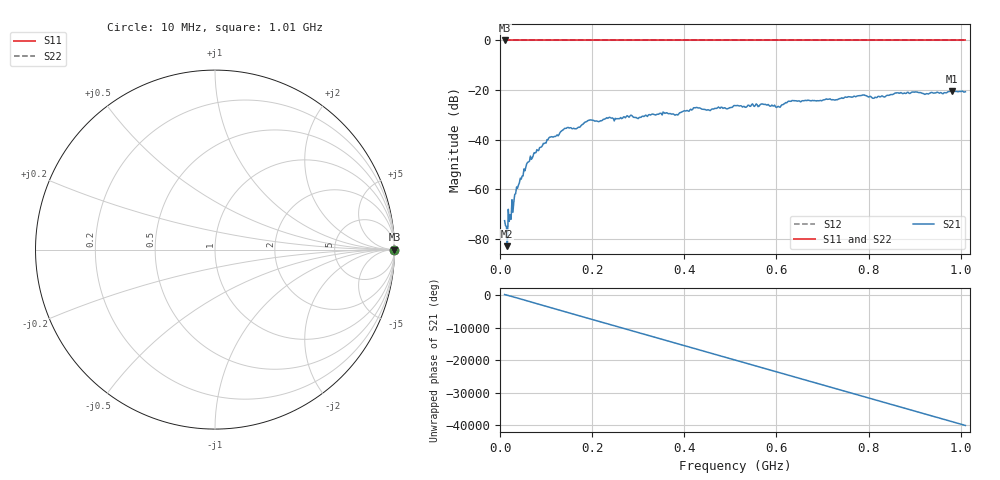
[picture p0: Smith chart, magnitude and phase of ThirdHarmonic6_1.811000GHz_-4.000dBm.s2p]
! 8/16/2025 9:56:01 PM
! C:\ANRITSUVNA\TEMP\TEMP.S2P
! CHANNEL.1
! TR.MEASUREMENT
! RAW.DATA
! RF.CORRECTION.OFF
! AVERAGING.OFF
! IF.BANDWIDTH: 5KHZ
! SWEEPTYPE:  FREQ.SWEEP(Linear)
! Reference Plane Port Info
! PORT:  PORT1  PORT2
! DISTANCE:  0  m  0  m
! TIME:  0  s  0  s
! PHASE.OFFSET:  0  deg.  0  deg.
! LOSS:  0  dB  0  dB
! REF.LOSS:  0  dB  0  dB
! REF.FREQ:  0  Hz  0  Hz
! Power Info
! POWER:  -20  dBm  -20  dBm
! EFF.POWER:  -20  dBm  -20  dBm
! SOURCE.ATTEN:  0  dB  0  dB
! TEST.ATTEN:  0  dB  0  dB
# GHZ S RI R 50.0
! FREQ.GHZ  S11RE  S11IM  S21RE  S21IM  S12RE  S12IM  S22RE  S22IM
!; PortSelection: Port_12
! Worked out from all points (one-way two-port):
!   501 points, 10 MHz to 1.01 GHz, reference 50 ohm
!   highest |S21| = -20.37 dB at 980 MHz (marker M1); lowest = -82.9 dB at 16 MHz (marker M2)
!   lowest |S11| = 0.0 dB at 10 MHz (marker M3)
!   |S11| at or under -10 dB: nowhere
!   |S22| runs from 0.0 to 0.0 dB; largest |S21 - S12| = 1.1
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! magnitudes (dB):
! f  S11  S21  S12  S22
! 10 MHz  0.0  -72.6  0.0  0.0
! 12 MHz  0.0  -74.6  0.0  0.0
! 16 MHz  0.0  -82.9  0.0  0.0
! 20 MHz  0.0  -72.9  0.0  0.0
! 22 MHz  0.0  -70.2  0.0  0.0
! 24 MHz  0.0  -72.1  0.0  0.0
! 36 MHz  0.0  -59.1  0.0  0.0
! 62 MHz  0.0  -48.9  0.0  0.0
! 106 MHz  0.0  -39.3  0.0  0.0
! 144 MHz  0.0  -35.4  0.0  0.0
! 178 MHz  0.0  -34.0  0.0  0.0
! 196 MHz  0.0  -32.0  0.0  0.0
! 344 MHz  0.0  -29.7  0.0  0.0
! 382 MHz  0.0  -29.9  0.0  0.0
! 424 MHz  0.0  -27.2  0.0  0.0
! 510 MHz  0.0  -26.2  0.0  0.0
! 604 MHz  0.0  -26.5  0.0  0.0
! 630 MHz  0.0  -24.5  0.0  0.0
! 678 MHz  0.0  -24.2  0.0  0.0
! 844 MHz  0.0  -22.1  0.0  0.0
! 980 MHz  0.0  -20.4  0.0  0.0
! 1.01 GHz  0.0  -20.7  0.0  0.0
